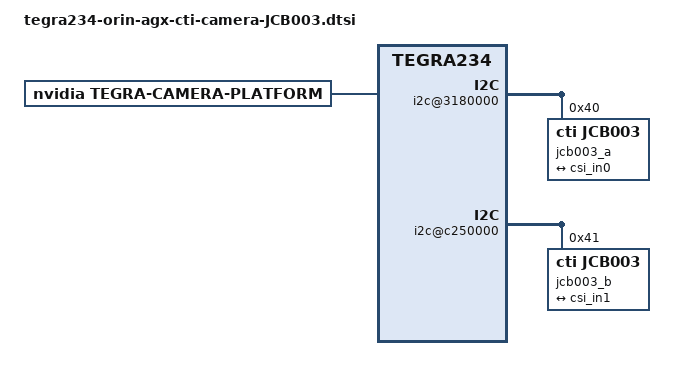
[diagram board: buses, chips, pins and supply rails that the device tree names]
#include "dt-bindings/clock/tegra194-clock.h"

/ {

	//I2C_3
	i2c@3180000 {
		jcb003_a@40 {
			
			/* Define any required hw resources needed by driver */
			/* ie. clocks, io pins, power sources */
			clocks = <&bpmp_clks TEGRA194_CLK_EXTPERIPH1>,
					 <&bpmp_clks TEGRA194_CLK_EXTPERIPH1>;
			clock-names = "extperiph1", "pllp_grtba";
			mclk = "extperiph1";

			compatible = "cti,jcb003";

			reg = <0x40>;

			/* Physical dimensions of sensor */
			physical_w = "15.0";
			physical_h = "12.5";

			sensor_model = "jcb003";

			/* Defines number of frames to be dropped by driver internally after applying */
			/* sensor crop settings. Some sensors send corrupt frames after applying */
			/* crop co-ordinates */
			post_crop_frame_drop = "0";

			/* Convert Gain to unit of dB (decibel) befor passing to kernel driver */
			use_decibel_gain = "true";

			//CTI_JCB003_MODE_1280X720
			mode0 {
				mclk_khz = "200000";
				num_lanes = "4";
				tegra_sinterface = "serial_a";

				discontinuous_clk = "no";
				dpcm_enable = "false";
				cil_settletime = "0";
				dynamic_pixel_bit_depth = "16";
				csi_pixel_bit_depth = "16";
				mode_type = "yuv";
				pixel_phase = "uyvy";

				active_w = "1280";
				active_h = "720";
				readout_orientation = "0";

				line_length = "1280";

				pix_clk_hz = "110592000";

				framerate_factor = "1000000";
				min_framerate = "60000000";
				max_framerate = "60000000";
				default_framerate = "60000000";
				step_framerate = "1";

				//Unused but required
				//serdes_pix_clk_hz = "833333333";
				inherent_gain = "1";
				gain_factor = "10";
				min_gain_val = "0"; /* dB */
				max_gain_val = "300"; /* dB */
				step_gain_val = "3"; /* 0.3 */
				default_gain = "0";
				min_hdr_ratio = "1";
				max_hdr_ratio = "1";

				exposure_factor = "1000000";
				min_exp_time = "100"; 
				max_exp_time = "1000";
				step_exp_time = "1";
				default_exp_time = "100";
				embedded_metadata_height = "0";

			};

			//CTI_JCB003_MODE_1920X1080
			mode1 {
				mclk_khz = "200000";
				num_lanes = "4";
				tegra_sinterface = "serial_a";

				discontinuous_clk = "no";
				dpcm_enable = "false";
				cil_settletime = "0";

				dynamic_pixel_bit_depth = "16";
				csi_pixel_bit_depth = "16";
				mode_type = "yuv";
				pixel_phase = "uyvy";

				active_w = "1920";
				active_h = "1080";
				readout_orientation = "0";

				line_length = "1920";

				//NOTE: 2x normal because 2 bytes per pixel
				pix_clk_hz = "248832000";

				framerate_factor = "1000000";
				min_framerate = "60000000";
				max_framerate = "60000000";
				default_framerate = "60000000";
				step_framerate = "1";

				//Unused but required
				//serdes_pix_clk_hz = "833333333";
				inherent_gain = "1";
				gain_factor = "10";
				min_gain_val = "0"; /* dB */
				max_gain_val = "300"; /* dB */
				step_gain_val = "3"; /* 0.3 */
				default_gain = "0";
				min_hdr_ratio = "1";
				max_hdr_ratio = "1";

				exposure_factor = "1000000";
				min_exp_time = "100"; 
				max_exp_time = "1000";
				step_exp_time = "1";
				default_exp_time = "100";
				embedded_metadata_height = "0";
			};

			ports {
				#address-cells = <1>;
				#size-cells = <0>;
				port@0 {
					reg = <0>;
					jcb003_out0: endpoint {
						port-index = <0>;
						bus-width = <4>;
						remote-endpoint = <&csi_in0>;
					};
				};
			};
		};
	};

	//I2C_4
	i2c@c250000 {
		jcb003_b@10 {
			
			/* Define any required hw resources needed by driver */
			/* ie. clocks, io pins, power sources */
			clocks = <&bpmp_clks TEGRA194_CLK_EXTPERIPH1>,
					 <&bpmp_clks TEGRA194_CLK_EXTPERIPH1>;
			clock-names = "extperiph1", "pllp_grtba";
			mclk = "extperiph1";

			compatible = "cti,jcb003";

			reg = <0x41>;

			/* Physical dimensions of sensor */
			physical_w = "15.0";
			physical_h = "12.5";

			sensor_model = "jcb003";

			/* Defines number of frames to be dropped by driver internally after applying */
			/* sensor crop settings. Some sensors send corrupt frames after applying */
			/* crop co-ordinates */
			post_crop_frame_drop = "0";

			/* Convert Gain to unit of dB (decibel) befor passing to kernel driver */
			use_decibel_gain = "true";

			//CTI_JCB003_MODE_1280X720
			mode0 {
				mclk_khz = "200000";
				num_lanes = "4";
				tegra_sinterface = "serial_c";

				discontinuous_clk = "no";
				dpcm_enable = "false";
				cil_settletime = "0";

				dynamic_pixel_bit_depth = "16";
				csi_pixel_bit_depth = "16";
				mode_type = "yuv";
				pixel_phase = "uyvy";

				active_w = "1280";
				active_h = "720";
				readout_orientation = "0";

				line_length = "1280";

				pix_clk_hz = "110592000";

				framerate_factor = "1000000";
				min_framerate = "60000000";
				max_framerate = "60000000";
				default_framerate = "60000000";
				step_framerate = "1";

				//Unused but required
				//serdes_pix_clk_hz = "833333333";
				inherent_gain = "1";
				gain_factor = "10";
				min_gain_val = "0"; /* dB */
				max_gain_val = "300"; /* dB */
				step_gain_val = "3"; /* 0.3 */
				default_gain = "0";
				min_hdr_ratio = "1";
				max_hdr_ratio = "1";

				exposure_factor = "1000000";
				min_exp_time = "100"; 
				max_exp_time = "1000";
				step_exp_time = "1";
				default_exp_time = "100";
				embedded_metadata_height = "0";
			};

			//CTI_JCB003_MODE_1920X1080
			mode1 {
				mclk_khz = "200000";
				num_lanes = "4";
				tegra_sinterface = "serial_c";

				discontinuous_clk = "no";
				dpcm_enable = "false";
				cil_settletime = "0";
				dynamic_pixel_bit_depth = "16";
				csi_pixel_bit_depth = "16";
				mode_type = "yuv";
				pixel_phase = "uyvy";

				active_w = "1920";
				active_h = "1080";
				readout_orientation = "0";

				line_length = "1920";

				//NOTE: 2x normal because 2 bytes per pixel
				pix_clk_hz = "248832000";
				
				framerate_factor = "1000000";
				min_framerate = "60000000";
				max_framerate = "60000000";
				default_framerate = "60000000";
				step_framerate = "1";

				//Unused but required
				//serdes_pix_clk_hz = "833333333";
				inherent_gain = "1";
				gain_factor = "10";
				min_gain_val = "0"; /* dB */
				max_gain_val = "300"; /* dB */
				step_gain_val = "3"; /* 0.3 */
				default_gain = "0";
				min_hdr_ratio = "1";
				max_hdr_ratio = "1";

				exposure_factor = "1000000";
				min_exp_time = "100"; 
				max_exp_time = "1000";
				step_exp_time = "1";
				default_exp_time = "100";
				embedded_metadata_height = "0";
			};

			ports {
				#address-cells = <1>;
				#size-cells = <0>;
				port@0 {
					reg = <0>;
					jcb003_out1: endpoint {
						port-index = <2>;
						bus-width = <4>;
						remote-endpoint = <&csi_in1>;
					};
				};
			};
		};
	};

	tegra-capture-vi {
		num-channels = <2>;
		ports {
			#address-cells = <1>;
			#size-cells = <0>;
			port@0 {
				reg = <0>;
				vi_in0: endpoint {
					port-index = <0>;
					bus-width = <4>;
					remote-endpoint = <&csi_out0>;
				};
			};
			port@1 {
				reg = <1>;
				vi_in1: endpoint {
					port-index = <2>;
					bus-width = <4>;
					remote-endpoint = <&csi_out1>;
				};
			};
		};
	};
	
	host1x@13e00000 {
		nvcsi@15a00000 {
			num-channels = <2>;
			#address-cells = <1>;
			#size-cells = <0>;
			channel@0 {
				reg = <0>;
				ports {
					#address-cells = <1>;
					#size-cells = <0>;
					port@0 {
						reg = <0>;
						csi_in0: endpoint@0 {
							port-index = <0>;
							bus-width = <4>;
							remote-endpoint = <&jcb003_out0>;
						};
					};
					port@1 {
						reg = <1>;
						csi_out0: endpoint@1 {
							remote-endpoint = <&vi_in0>;
						};
					};
				};
			};
			channel@1 {
				reg = <1>;
				ports {
					#address-cells = <1>;
					#size-cells = <0>;
					port@0 {
						reg = <0>;
						csi_in1: endpoint@2 {
							port-index = <2>;
							bus-width = <4>;
							remote-endpoint = <&jcb003_out1>;
						};
					};
					port@1 {
						reg = <1>;
						csi_out1: endpoint@11 {
							remote-endpoint = <&vi_in1>;
						};
					};
				};
			};
		};
	};

	tegra-camera-platform {
		compatible = "nvidia, tegra-camera-platform";
		/**
		* Physical settings to calculate max ISO BW
		*
		* num_csi_lanes = <>;
		* Total number of CSI lanes when all cameras are active
		*
		* max_lane_speed = <>;
		* Max lane speed in Kbit/s
		*
		* min_bits_per_pixel = <>;
		* Min bits per pixel
		*
		* vi_peak_byte_per_pixel = <>;
		* Max byte per pixel for the VI ISO case
		*
		* vi_bw_margin_pct = <>;
		* Vi bandwidth margin in percentage
		*
		* max_pixel_rate = <>;
		* Max pixel rate in Kpixel/s for the ISP ISO case
		*
		* isp_peak_byte_per_pixel = <>;
		* Max byte per pixel for the ISP ISO case
		*
		* isp_bw_margin_pct = <>;
		* Isp bandwidth margin in percentage
		*/
		num_csi_lanes = <8>;
		max_lane_speed = <800000>;
		min_bits_per_pixel = <16>;
		vi_peak_byte_per_pixel = <2>;
		vi_bw_margin_pct = <25>;
		isp_peak_byte_per_pixel = <2>;
		isp_bw_margin_pct = <25>;
		//max_pixel_rate = <240000>;
		//tpg_max_iso = <3916800>;

		/**
		 * The general guideline for naming badge_info contains 3 parts, and is as follows,
		 * The first part is the camera_board_id for the module; if the module is in a FFD
		 * platform, then use the platform name for this part.
		 * The second part contains the position of the module, ex. "rear" or "front".
		 * The third part contains the last 6 characters of a part number which is found
		 * in the module's specsheet from the vender.
		 */
		modules {
			module0 {
				badge = "cti_front_jcb003";
				position = "front";
				orientation = "0";
				drivernode0 {
					/* Declare PCL support driver (classically known as guid)  */
					pcl_id = "v4l2_sensor";
					/* Driver v4l2 device name */
					devname = "jcb003 2-0040";
					/* Declare the device-tree hierarchy to driver instance */
					proc-device-tree = "/proc/device-tree/i2c@3180000/jcb003_a@40";
				};
			};
			module1 {
				badge = "cti_rear_jcb003";
				position = "rear";
				orientation = "0";
				drivernode0 {
					/* Declare PCL support driver (classically known as guid)  */
					pcl_id = "v4l2_sensor";
					/* Driver v4l2 device name */
					devname = "jcb003 7-0041";
					/* Declare the device-tree hierarchy to driver instance */
					proc-device-tree = "/proc/device-tree/i2c@c250000/jcb003_b@41";
				};
			};
		};
	};
};
